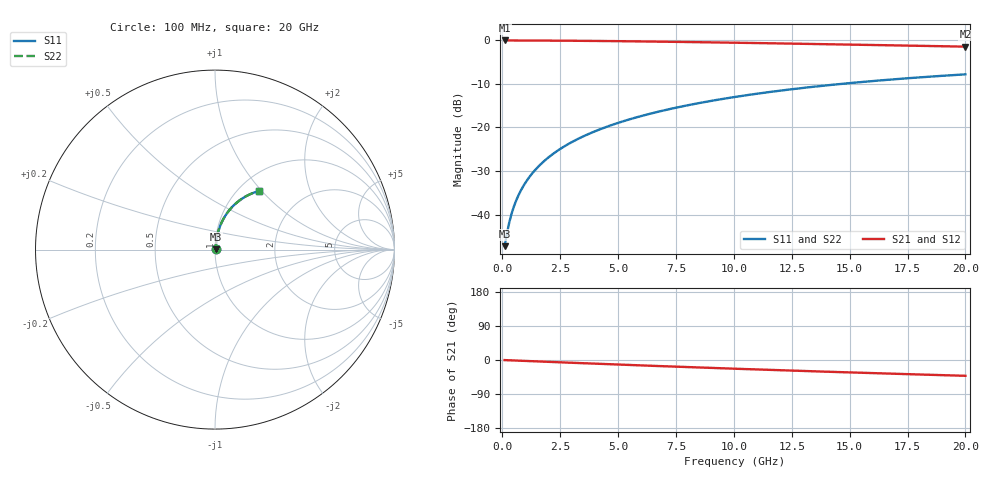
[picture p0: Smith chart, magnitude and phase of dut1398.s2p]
! Touchstone file exported from HFSS 2024.1.0
!  File:  C:/UserFiles/LocalFiles/RDL_TSV_Batchsim/temp_RDL_bottom_1398_1780372334.aedt
!  Generated:  11:54:52 AM Jun  2, 2026
!  Design:  RDL_bottom
!  Project:  temp_RDL_bottom_1398_1780372334
!  Setup:  Setup1
!  Solution:  Sweep
! Variables:
!  dtsv = 10.80580581um
!  hbump = 3um
!  htsv = 84.27um
!  ldown = 592.38um
!  lrdl = 100um
!  p = 40
!  p1 = 43um
!  rhole = 1um
!  t = 450um
!  tdown = 3.81um
!  trdl = 3.915915916um
!  wdown = 15.83um
!  wrdl = 20um
# GHz S MA R 50.000000
! Terminal data exported
! Port[1] = RDL1_T1
! Port[2] = RDL1_T2
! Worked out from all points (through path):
!   200 points, 100 MHz to 20 GHz, reference 50 ohm
!   highest |S21| = -0.03 dB at 100 MHz (marker M1); lowest = -1.5 dB at 20 GHz (marker M2)
!   group delay of S21, straight-line fit = 5.78 ps
!   lowest |S11| = -47.3 dB at 100 MHz (marker M3), VSWR 1.01, Z = 50.4 + j0.243 ohm
!   |S11| at or under -10 dB: start of sweep to 14.65 GHz
!   |S22| runs from -47.3 to -7.8 dB; largest |S21 - S12| = 3.1e-15
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0.1  0.004333 33.9  0.9964 -0.3  0.9964 -0.3  0.004333 33.9
! Gamma 0 0 0 0
! Port Impedance 50 0 50 0
0.2  0.00606 52.2  0.9963 -0.5  0.9963 -0.5  0.00606 52.2
0.3  0.008089 61.4  0.9961 -0.8  0.9961 -0.8  0.008089 61.4
0.4  0.0102 66.8  0.996 -1.0  0.996 -1.0  0.0102 66.8
0.5  0.01235 70.2  0.9958 -1.3  0.9958 -1.3  0.01235 70.2
0.6  0.0145 72.6  0.9956 -1.5  0.9956 -1.5  0.0145 72.6
0.8  0.01884 75.8  0.9953 -2.0  0.9953 -2.0  0.01884 75.8
1.1  0.02542 78.5  0.9948 -2.7  0.9948 -2.7  0.02542 78.5
1.3  0.02983 79.5  0.9944 -3.2  0.9944 -3.2  0.02983 79.5
1.6  0.03649 80.5  0.9937 -3.9  0.9937 -3.9  0.03649 80.5
2.1  0.04764 81.2  0.9923 -5.1  0.9923 -5.1  0.04764 81.2
2.7  0.06107 81.3  0.9901 -6.6  0.9901 -6.6  0.06107 81.3
3.5  0.07903 80.9  0.9866 -8.5  0.9866 -8.5  0.07902 80.9
4.2  0.09475 80.2  0.9829 -10.1  0.9829 -10.1  0.09475 80.2
5  0.1127 79.2  0.9781 -12.0  0.9781 -12.0  0.1127 79.2
5.9  0.1329 77.9  0.9721 -14.1  0.9721 -14.1  0.1329 77.9
6.8  0.153 76.5  0.9656 -16.1  0.9656 -16.1  0.1529 76.5
8.4  0.1882 73.8  0.9529 -19.6  0.9529 -19.6  0.1882 73.8
10.1  0.2249 70.8  0.9384 -23.1  0.9384 -23.1  0.2249 70.8
13.4  0.2923 64.8  0.9083 -29.7  0.9083 -29.7  0.2922 64.8
16.7  0.3532 58.9  0.8772 -35.9  0.8772 -35.9  0.3531 58.9
20  0.4068 53.2  0.8461 -41.7  0.8461 -41.7  0.4067 53.2
